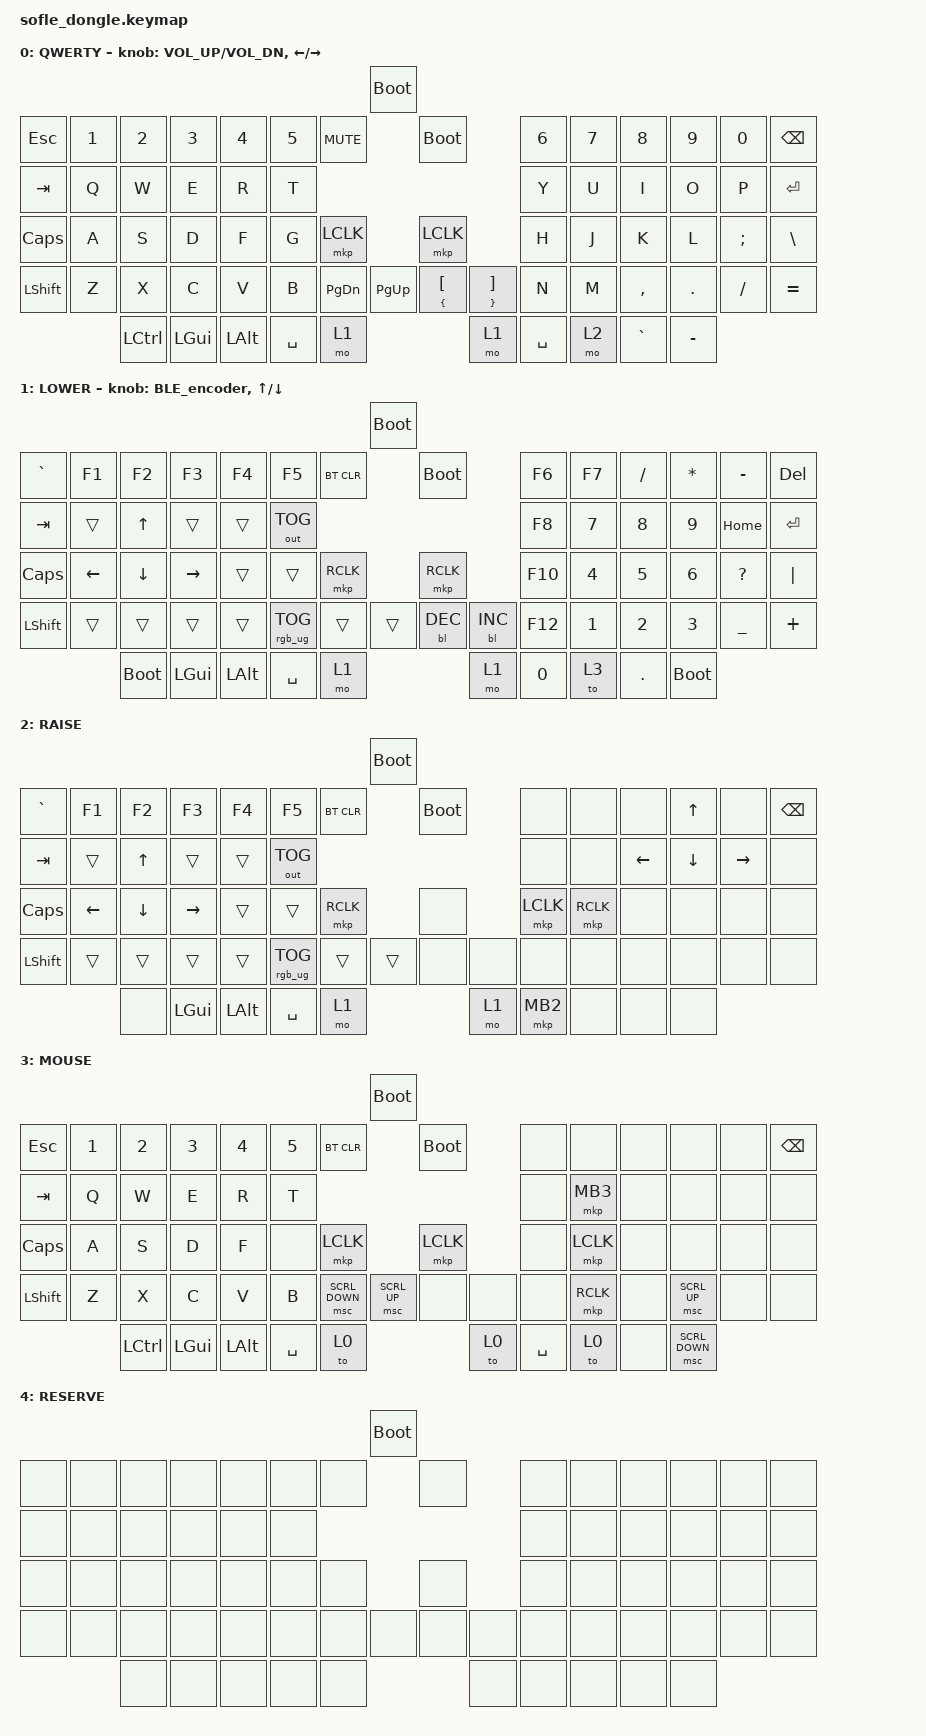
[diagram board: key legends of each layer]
/*
 * Copyright (c) 2025 ZitaoTech
 *
 * SPDX-License-Identifier: MIT
 */

#include <behaviors.dtsi>
#include <dt-bindings/zmk/behaviors.h>
#include <zephyr/dt-bindings/input/input-event-codes.h>
#include <dt-bindings/zmk/keys.h>
#include <dt-bindings/zmk/bt.h>
#include <dt-bindings/zmk/outputs.h>
#include <dt-bindings/zmk/mouse.h>
#include <dt-bindings/zmk/backlight.h>
#include <dt-bindings/zmk/ext_power.h>
#include <dt-bindings/zmk/rgb.h>

#define FUNC 1
#define RES 2

/ {
    input_processors {

        zip_temp_layer: zip_temp_layer {
            compatible = "zmk,input-processor-temp-layer";
            #input-processor-cells = <2>;
        };

        ip_behaviors0: ip_behaviors0 {
            compatible = "zmk,input-processor-behaviors";
            #input-processor-cells = <0>;
            type = <INPUT_EV_KEY>;
            codes = <INPUT_BTN_0>;
            bindings = <&kp RIGHT>;
        };
        ip_behaviors1: ip_behaviors1 {
            compatible = "zmk,input-processor-behaviors";
            #input-processor-cells = <0>;
            type = <INPUT_EV_KEY>;
            codes = <INPUT_BTN_1>;
            bindings = <&kp LEFT>;
        };
        ip_behaviors2: ip_behaviors2 {
            compatible = "zmk,input-processor-behaviors";
            #input-processor-cells = <0>;
            type = <INPUT_EV_KEY>;
            codes = <INPUT_BTN_2>;
            bindings = <&kp DOWN>;
        };
        ip_behaviors3: ip_behaviors3 {
            compatible = "zmk,input-processor-behaviors";
            #input-processor-cells = <0>;
            type = <INPUT_EV_KEY>;
            codes = <INPUT_BTN_3>;
            bindings = <&kp UP>;
        };
    };
};

/ {
    behaviors {
        td0: tap_dance_0 {
            compatible = "zmk,behavior-tap-dance";
            #binding-cells = <0>;
            tapping-term-ms = <400>;
            bindings = <&mkp LCLK>, <&bt BT_CLR>;
        };
    };
    behaviors {
        hm: homerow_mods {
            compatible = "zmk,behavior-hold-tap";
            #binding-cells = <2>;
            tapping-term-ms = <500>;
            bindings = <&kp &kp>;
        };
    };

    behaviors {
        sp_sc: behavior_spacescroll {
           compatible = "zmk,behavior-hold-tap";
           #binding-cells = <2>;
           flavor = "tap-preferred";     /* 单击优先 */
           tapping-term-ms = <200>;       /* 长按阈值 */
           bindings = <&none &kp>;        /* hold=none, tap=space */
        };
    };

    behaviors {
        BLE_encoder: BLE_encoder {
            compatible = "zmk,behavior-sensor-rotate";
            #sensor-binding-cells = <0>;
            bindings = <&bt BT_NXT>, <&bt BT_PRV>;
        };
    };

    keymap {
        compatible = "zmk,keymap";

         default_layer {
            display-name = "QWERTY";
           bindings = <
                                                                            &bootloader
&kp ESC   &kp N1   &kp N2     &kp N3   &kp N4    &kp N5    &kp C_MUTE                   &bootloader                    &kp N6      &kp N7      &kp N8    &kp N9    &kp N0   &kp BSPC            
&kp TAB   &kp Q    &kp W      &kp E    &kp R     &kp T                                                                 &kp Y       &kp U       &kp I     &kp O     &kp P    &kp ENTER
&kp CAPS  &kp A    &kp S      &kp D    &kp F     &kp G     &mkp LCLK                    &mkp LCLK                      &kp H       &kp J       &kp K     &kp L     &kp SEMI &kp BSLH
&kp LSHFT &kp Z    &kp X      &kp C    &kp V     &kp B     &kp PG_DN  &kp PG_UP         &mt  LBRC LBKT  &mt RBRC RBKT  &kp N       &kp M       &kp COMMA &kp DOT   &kp FSLH &kp EQUAL
                   &kp LCTRL  &kp LGUI &kp LALT  &kp SPACE &mo 1                                        &mo 1          &kp SPACE   &mo 2       &kp GRAVE    &kp MINUS
           >;
           sensor-bindings = <&inc_dec_kp C_VOL_UP C_VOL_DN &inc_dec_kp LEFT RIGHT>;
        };


        lower_layer {
            display-name = "LOWER";
            bindings = <
                                                                                 &bootloader
&kp GRAVE   &kp F1    &kp F2     &kp F3    &kp F4    &kp F5           &bt BT_CLR                   &bootloader            &kp F6    &kp F7   &kp SLASH  &kp STAR  &kp MINUS  &kp DEL            
&kp TAB     &trans    &kp UP     &trans    &trans    &out OUT_TOG                                                         &kp F8    &kp N7   &kp N8     &kp N9    &kp HOME   &kp ENTER
&kp CAPS    &kp LEFT  &kp DOWN   &kp RIGHT &trans    &trans           &mkp RCLK                    &mkp RCLK              &kp F10   &kp N4   &kp N5     &kp N6    &kp QMARK  &kp PIPE
&kp LSHFT   &trans    &trans     &trans    &trans    &rgb_ug RGB_TOG  &trans     &trans            &bl BL_DEC  &bl BL_INC &kp F12   &kp N1   &kp N2     &kp N3    &kp UNDER  &kp PLUS
                      &bootloader       &kp LGUI  &kp LALT  &kp SPACE        &mo 1                                               &mo 1     &kp N0   &to 3      &kp DOT   &bootloader 
            >;
            sensor-bindings = <&BLE_encoder &inc_dec_kp UP DOWN>;
        };

        raise_layer {
            display-name = "RAISE";
            bindings = <
                                                                       &bootloader
&kp GRAVE   &kp F1    &kp F2     &kp F3    &kp F4    &kp F5           &bt BT_CLR                      &bootloader       &none      &none     &none     &kp UP    &none      &kp BSPC            
&kp TAB     &trans    &kp UP     &trans    &trans    &out OUT_TOG                                                      &none      &none     &kp LEFT  &kp DOWN  &kp RIGHT  &none
&kp CAPS    &kp LEFT  &kp DOWN   &kp RIGHT &trans    &trans           &mkp RCLK                       &none            &mkp LCLK  &mkp RCLK &none     &none     &none      &none
&kp LSHFT   &trans    &trans     &trans    &trans    &rgb_ug RGB_TOG  &trans     &trans               &none  &none     &none      &none     &none     &none     &none      &none
                      &none      &kp LGUI  &kp LALT  &kp SPACE        &mo 1                                  &mo 1     &mkp MB2   &none     &none     &none
            >;
        }; 
        MOUSE_layer {
            display-name = "MOUSE";
            bindings = <
                                                                         &bootloader
&kp ESC   &kp N1    &kp N2     &kp N3   &kp N4   &kp N5     &bt BT_CLR                       &bootloader       &none      &none      &none   &none         &none  &kp BSPC            
&kp TAB   &kp Q     &kp W      &kp E    &kp R    &kp T                                                        &none      &mkp MB3   &none   &none         &none  &none
&kp CAPS  &kp A     &kp S      &kp D    &kp F    &none      &mkp LCLK                        &mkp LCLK        &none      &mkp LCLK  &none   &none         &none  &none
&kp LSHFT &kp Z     &kp X      &kp C    &kp V    &kp B      &msc SCRL_DOWN   &msc SCRL_UP    &none  &none     &none      &mkp RCLK  &none   &msc SCRL_UP  &none  &none
                    &kp LCTRL  &kp LGUI &kp LALT &kp SPACE  &to 0                                   &to 0     &kp SPACE  &to 0      &none   &msc SCRL_DOWN
            >;
        };
                RES_layer { 
            display-name = "RESERVE";
            bindings = <
                                                                         &bootloader
&none     &none     &none      &none    &none    &none   &none                        &none            &none   &none  &none   &none  &none  &none            
&none     &none     &none      &none    &none    &none                                                 &none   &none  &none   &none  &none  &none
&none     &none     &none      &none    &none    &none   &none                        &none            &none   &none  &none   &none  &none  &none
&none     &none     &none      &none    &none    &none   &none   &none                &none  &none     &none   &none  &none   &none  &none  &none
                    &none      &none    &none    &none   &none                                         &none   &none  &none   &none  &none
            >;
        };
    };
};
